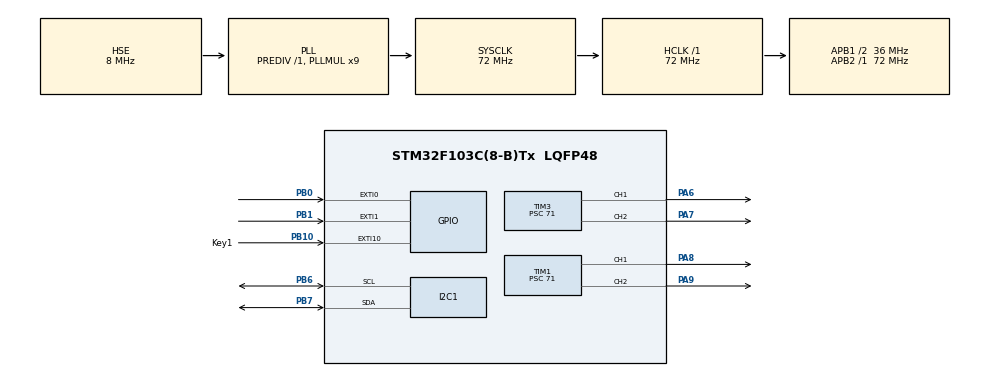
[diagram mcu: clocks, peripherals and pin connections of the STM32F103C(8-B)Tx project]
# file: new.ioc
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Mcu.Family=STM32F1
Mcu.Name=STM32F103C(8-B)Tx
Mcu.Package=LQFP48
NVIC.EXTI15_10_IRQn=true\:0\:0\:false\:false\:true\:true\:true\:true
NVIC.PriorityGroup=NVIC_PRIORITYGROUP_4
PA13.Mode=Serial_Wire
PA13.Signal=SYS_JTMS-SWDIO
PA14.Mode=Serial_Wire
PA14.Signal=SYS_JTCK-SWCLK
PA6.Signal=S_TIM3_CH1
PA7.Signal=S_TIM3_CH2
PA8.Signal=S_TIM1_CH1
PA9.Signal=S_TIM1_CH2
PB0.Signal=GPXTI0
PB1.Signal=GPXTI1
PB10.GPIO_Label=Key1
PB10.GPIO_ModeDefaultEXTI=GPIO_MODE_IT_FALLING
PB10.GPIO_PuPd=GPIO_PULLUP
PB10.Signal=GPXTI10
PB6.Mode=I2C
PB6.Signal=I2C1_SCL
PB7.Mode=I2C
PB7.Signal=I2C1_SDA
PC14-OSC32_IN.Mode=LSE-External-Oscillator
PC14-OSC32_IN.Signal=RCC_OSC32_IN
PC15-OSC32_OUT.Mode=LSE-External-Oscillator
PC15-OSC32_OUT.Signal=RCC_OSC32_OUT
PD0-OSC_IN.Mode=HSE-External-Oscillator
PD0-OSC_IN.Signal=RCC_OSC_IN
PD1-OSC_OUT.Mode=HSE-External-Oscillator
PD1-OSC_OUT.Signal=RCC_OSC_OUT
ProjectManager.HeapSize=0x200
ProjectManager.StackSize=0x400
ProjectManager.TargetToolchain=STM32CubeIDE
RCC.AHBFreq_Value=72000000
RCC.APB1CLKDivider=RCC_HCLK_DIV2
RCC.APB1Freq_Value=36000000
RCC.APB1TimFreq_Value=72000000
RCC.APB2Freq_Value=72000000
RCC.APB2TimFreq_Value=72000000
RCC.HCLKFreq_Value=72000000
RCC.PLLMUL=RCC_PLL_MUL9
RCC.PLLSourceVirtual=RCC_PLLSOURCE_HSE
RCC.SYSCLKFreq_VALUE=72000000
RCC.SYSCLKSource=RCC_SYSCLKSOURCE_PLLCLK
RCC.USBFreq_Value=72000000
SH.S_TIM1_CH1.0=TIM1_CH1,PWM Generation1 CH1
SH.S_TIM1_CH2.0=TIM1_CH2,PWM Generation2 CH2
SH.S_TIM3_CH1.0=TIM3_CH1,PWM Generation1 CH1
SH.S_TIM3_CH2.0=TIM3_CH2,PWM Generation2 CH2
TIM1.Channel-PWM\ Generation1\ CH1=TIM_CHANNEL_1
TIM1.Channel-PWM\ Generation2\ CH2=TIM_CHANNEL_2
TIM1.Period=19999
TIM1.Prescaler=71
TIM1.Pulse-PWM\ Generation1\ CH1=1500
TIM1.Pulse-PWM\ Generation2\ CH2=1500
TIM3.Channel-PWM\ Generation1\ CH1=TIM_CHANNEL_1
TIM3.Channel-PWM\ Generation2\ CH2=TIM_CHANNEL_2
TIM3.Period=19999
TIM3.Prescaler=71
TIM3.Pulse-PWM\ Generation1\ CH1=1500
TIM3.Pulse-PWM\ Generation2\ CH2=1500
VP_TIM1_VS_ClockSourceINT.Mode=Internal
VP_TIM3_VS_ClockSourceINT.Mode=Internal
board=custom

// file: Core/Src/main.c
/* USER CODE BEGIN Header */
/**
  ******************************************************************************
  * @file           : main.c
  * @brief          : Main program body
  ******************************************************************************
  * @attention
  *
  * Copyright (c) 2026 STMicroelectronics.
  * All rights reserved.
  *
  * This software is licensed under terms that can be found in the LICENSE file
  * in the root directory of this software component.
  * If no LICENSE file comes with this software, it is provided AS-IS.
  *
  ******************************************************************************
  */
/* USER CODE END Header */
#include "main.h"

/* USER CODE BEGIN Includes */
#include "../../icode/oled/oled.h"
/* USER CODE END Includes */

I2C_HandleTypeDef hi2c1;

TIM_HandleTypeDef htim1;
TIM_HandleTypeDef htim3;

void SystemClock_Config(void);
static void MX_GPIO_Init(void);
static void MX_I2C1_Init(void);
static void MX_TIM1_Init(void);
static void MX_TIM3_Init(void);

/* USER CODE BEGIN 0 */
volatile uint8_t auto_switch_enabled = 0;  // 0:停止自动切换  1:开启自动切换
volatile uint16_t current_pulse = 500;     // 当前PWM比较值，初始500
/* USER CODE END 0 */

int main(void)
{

  /* MCU Configuration--------------------------------------------------------*/

  /* Reset of all peripherals, Initializes the Flash interface and the Systick. */
  HAL_Init();

  /* Configure the system clock */
  SystemClock_Config();

  /* Initialize all configured peripherals */
  MX_GPIO_Init();
  MX_I2C1_Init();
  MX_TIM1_Init();
  MX_TIM3_Init();
  /* USER CODE BEGIN 2 */
  HAL_TIM_PWM_Start(&htim3, TIM_CHANNEL_1);
  HAL_TIM_PWM_Start(&htim3, TIM_CHANNEL_2);
  HAL_TIM_PWM_Start(&htim1, TIM_CHANNEL_1);
  HAL_TIM_PWM_Start(&htim1, TIM_CHANNEL_2);

  OLED_Init();                           //OLED初始
   OLED_Clear();                         //清屏
  //上面的初始化以及清屏的代码在一开始处一定要写
//   OLED_ShowString(0,0,"UNICORN_LI",16, 1);    //反相显示8X16字符串
//   OLED_ShowString(0,2,"unicorn_li_123",12,0);//正相显示6X8字符串
//
//   OLED_ShowCHinese(0,6,0,0); //正相显示汉字“独”
//   OLED_ShowCHinese(16,6,1,0);//正相显示汉字“角”
//   OLED_ShowCHinese(32,6,2,0);//正相显示汉字“兽”
//
//   OLED_ShowNum(48,4,6,1,16, 0);//正相显示1位8X16数字“6”
//   OLED_ShowNum(48,7,77,2,12, 1);//反相显示2位6X8数字“77”
//   OLED_DrawBMP(90,0,122, 4,BMP1,0);//正相显示图片BMP1
   OLED_DrawBMP(0,0,128,6,BMP4,0);
//   OLED_ShowCHinese(50,6,3,0);//正相显示汉字“前”
//   OLED_ShowCHinese(66,6,4,0);//正相显示汉字“进”
//	OLED_ShowCHinese(44,6,5,0);//正相显示汉字“伸”
//	OLED_ShowCHinese(60,6,6,0);//正相显示汉字“懒”
//	OLED_ShowCHinese(76,6,7,0);//正相显示汉字“腰”
	OLED_ShowCHinese(44,6,8,0);//正相显示汉字“打”
	OLED_ShowCHinese(60,6,9,0);//正相显示汉字“招”
	OLED_ShowCHinese(76,6,10,0);//正相显示汉字“呼”

//   OLED_HorizontalShift(0x26);//全屏水平向右滚动播放

  /* USER CODE END 2 */

  /* Infinite loop */
  /* USER CODE BEGIN WHILE */
  while (1)
  {
	  if (auto_switch_enabled)
	  {
		  static uint32_t last_switch_tick = 0;
		  uint32_t now = HAL_GetTick();
		  if (now - last_switch_tick >= 500)  // 每500ms切换一次，可自行调整
		  {
			  last_switch_tick = now;

			  // 在500和1500之间交替
			  if (current_pulse == 500) {
				  current_pulse = 1500;
			  } else {
				  current_pulse = 500;
			  }

			  // 更新PWM比较值
			  __HAL_TIM_SET_COMPARE(&htim3, TIM_CHANNEL_1, current_pulse);
			  __HAL_TIM_SET_COMPARE(&htim3, TIM_CHANNEL_2, current_pulse);
			  __HAL_TIM_SET_COMPARE(&htim1, TIM_CHANNEL_1, current_pulse);
			  __HAL_TIM_SET_COMPARE(&htim1, TIM_CHANNEL_2, current_pulse);
		  }
	  }
    /* USER CODE END WHILE */

  }
}

void SystemClock_Config(void)
{
  RCC_OscInitTypeDef RCC_OscInitStruct = {0};
  RCC_ClkInitTypeDef RCC_ClkInitStruct = {0};

  /** Initializes the RCC Oscillators according to the specified parameters
  * in the RCC_OscInitTypeDef structure.
  */
  RCC_OscInitStruct.OscillatorType = RCC_OSCILLATORTYPE_HSE;
  RCC_OscInitStruct.HSEState = RCC_HSE_ON;
  RCC_OscInitStruct.HSEPredivValue = RCC_HSE_PREDIV_DIV1;
  RCC_OscInitStruct.HSIState = RCC_HSI_ON;
  RCC_OscInitStruct.PLL.PLLState = RCC_PLL_ON;
  RCC_OscInitStruct.PLL.PLLSource = RCC_PLLSOURCE_HSE;
  RCC_OscInitStruct.PLL.PLLMUL = RCC_PLL_MUL9;
  if (HAL_RCC_OscConfig(&RCC_OscInitStruct) != HAL_OK)
  {
    Error_Handler();
  }

  /** Initializes the CPU, AHB and APB buses clocks
  */
  RCC_ClkInitStruct.ClockType = RCC_CLOCKTYPE_HCLK|RCC_CLOCKTYPE_SYSCLK
                              |RCC_CLOCKTYPE_PCLK1|RCC_CLOCKTYPE_PCLK2;
  RCC_ClkInitStruct.SYSCLKSource = RCC_SYSCLKSOURCE_PLLCLK;
  RCC_ClkInitStruct.AHBCLKDivider = RCC_SYSCLK_DIV1;
  RCC_ClkInitStruct.APB1CLKDivider = RCC_HCLK_DIV2;
  RCC_ClkInitStruct.APB2CLKDivider = RCC_HCLK_DIV1;

  if (HAL_RCC_ClockConfig(&RCC_ClkInitStruct, FLASH_LATENCY_2) != HAL_OK)
  {
    Error_Handler();
  }
}

static void MX_I2C1_Init(void)
{

  hi2c1.Instance = I2C1;
  hi2c1.Init.ClockSpeed = 100000;
  hi2c1.Init.DutyCycle = I2C_DUTYCYCLE_2;
  hi2c1.Init.OwnAddress1 = 0;
  hi2c1.Init.AddressingMode = I2C_ADDRESSINGMODE_7BIT;
  hi2c1.Init.DualAddressMode = I2C_DUALADDRESS_DISABLE;
  hi2c1.Init.OwnAddress2 = 0;
  hi2c1.Init.GeneralCallMode = I2C_GENERALCALL_DISABLE;
  hi2c1.Init.NoStretchMode = I2C_NOSTRETCH_DISABLE;
  if (HAL_I2C_Init(&hi2c1) != HAL_OK)
  {
    Error_Handler();
  }

}

static void MX_TIM1_Init(void)
{

  TIM_ClockConfigTypeDef sClockSourceConfig = {0};
  TIM_MasterConfigTypeDef sMasterConfig = {0};
  TIM_OC_InitTypeDef sConfigOC = {0};
  TIM_BreakDeadTimeConfigTypeDef sBreakDeadTimeConfig = {0};

  htim1.Instance = TIM1;
  htim1.Init.Prescaler = 71;
  htim1.Init.CounterMode = TIM_COUNTERMODE_UP;
  htim1.Init.Period = 19999;
  htim1.Init.ClockDivision = TIM_CLOCKDIVISION_DIV1;
  htim1.Init.RepetitionCounter = 0;
  htim1.Init.AutoReloadPreload = TIM_AUTORELOAD_PRELOAD_DISABLE;
  if (HAL_TIM_Base_Init(&htim1) != HAL_OK)
  {
    Error_Handler();
  }
  sClockSourceConfig.ClockSource = TIM_CLOCKSOURCE_INTERNAL;
  if (HAL_TIM_ConfigClockSource(&htim1, &sClockSourceConfig) != HAL_OK)
  {
    Error_Handler();
  }
  if (HAL_TIM_PWM_Init(&htim1) != HAL_OK)
  {
    Error_Handler();
  }
  sMasterConfig.MasterOutputTrigger = TIM_TRGO_RESET;
  sMasterConfig.MasterSlaveMode = TIM_MASTERSLAVEMODE_DISABLE;
  if (HAL_TIMEx_MasterConfigSynchronization(&htim1, &sMasterConfig) != HAL_OK)
  {
    Error_Handler();
  }
  sConfigOC.OCMode = TIM_OCMODE_PWM1;
  sConfigOC.Pulse = 1500;
  sConfigOC.OCPolarity = TIM_OCPOLARITY_HIGH;
  sConfigOC.OCNPolarity = TIM_OCNPOLARITY_HIGH;
  sConfigOC.OCFastMode = TIM_OCFAST_DISABLE;
  sConfigOC.OCIdleState = TIM_OCIDLESTATE_RESET;
  sConfigOC.OCNIdleState = TIM_OCNIDLESTATE_RESET;
  if (HAL_TIM_PWM_ConfigChannel(&htim1, &sConfigOC, TIM_CHANNEL_1) != HAL_OK)
  {
    Error_Handler();
  }
  if (HAL_TIM_PWM_ConfigChannel(&htim1, &sConfigOC, TIM_CHANNEL_2) != HAL_OK)
  {
    Error_Handler();
  }
  sBreakDeadTimeConfig.OffStateRunMode = TIM_OSSR_DISABLE;
  sBreakDeadTimeConfig.OffStateIDLEMode = TIM_OSSI_DISABLE;
  sBreakDeadTimeConfig.LockLevel = TIM_LOCKLEVEL_OFF;
  sBreakDeadTimeConfig.DeadTime = 0;
  sBreakDeadTimeConfig.BreakState = TIM_BREAK_DISABLE;
  sBreakDeadTimeConfig.BreakPolarity = TIM_BREAKPOLARITY_HIGH;
  sBreakDeadTimeConfig.AutomaticOutput = TIM_AUTOMATICOUTPUT_DISABLE;
  if (HAL_TIMEx_ConfigBreakDeadTime(&htim1, &sBreakDeadTimeConfig) != HAL_OK)
  {
    Error_Handler();
  }
  HAL_TIM_MspPostInit(&htim1);

}

static void MX_TIM3_Init(void)
{

  TIM_ClockConfigTypeDef sClockSourceConfig = {0};
  TIM_MasterConfigTypeDef sMasterConfig = {0};
  TIM_OC_InitTypeDef sConfigOC = {0};

  htim3.Instance = TIM3;
  htim3.Init.Prescaler = 71;
  htim3.Init.CounterMode = TIM_COUNTERMODE_UP;
  htim3.Init.Period = 19999;
  htim3.Init.ClockDivision = TIM_CLOCKDIVISION_DIV1;
  htim3.Init.AutoReloadPreload = TIM_AUTORELOAD_PRELOAD_DISABLE;
  if (HAL_TIM_Base_Init(&htim3) != HAL_OK)
  {
    Error_Handler();
  }
  sClockSourceConfig.ClockSource = TIM_CLOCKSOURCE_INTERNAL;
  if (HAL_TIM_ConfigClockSource(&htim3, &sClockSourceConfig) != HAL_OK)
  {
    Error_Handler();
  }
  if (HAL_TIM_PWM_Init(&htim3) != HAL_OK)
  {
    Error_Handler();
  }
  sMasterConfig.MasterOutputTrigger = TIM_TRGO_RESET;
  sMasterConfig.MasterSlaveMode = TIM_MASTERSLAVEMODE_DISABLE;
  if (HAL_TIMEx_MasterConfigSynchronization(&htim3, &sMasterConfig) != HAL_OK)
  {
    Error_Handler();
  }
  sConfigOC.OCMode = TIM_OCMODE_PWM1;
  sConfigOC.Pulse = 1500;
  sConfigOC.OCPolarity = TIM_OCPOLARITY_HIGH;
  sConfigOC.OCFastMode = TIM_OCFAST_DISABLE;
  if (HAL_TIM_PWM_ConfigChannel(&htim3, &sConfigOC, TIM_CHANNEL_1) != HAL_OK)
  {
    Error_Handler();
  }
  if (HAL_TIM_PWM_ConfigChannel(&htim3, &sConfigOC, TIM_CHANNEL_2) != HAL_OK)
  {
    Error_Handler();
  }
  HAL_TIM_MspPostInit(&htim3);

}

static void MX_GPIO_Init(void)
{
  GPIO_InitTypeDef GPIO_InitStruct = {0};

  /* GPIO Ports Clock Enable */
  __HAL_RCC_GPIOC_CLK_ENABLE();
  __HAL_RCC_GPIOD_CLK_ENABLE();
  __HAL_RCC_GPIOA_CLK_ENABLE();
  __HAL_RCC_GPIOB_CLK_ENABLE();

  /*Configure GPIO pins : PB0 PB1 */
  GPIO_InitStruct.Pin = GPIO_PIN_0|GPIO_PIN_1;
  GPIO_InitStruct.Mode = GPIO_MODE_IT_RISING;
  GPIO_InitStruct.Pull = GPIO_NOPULL;
  HAL_GPIO_Init(GPIOB, &GPIO_InitStruct);

  /*Configure GPIO pin : Key1_Pin */
  GPIO_InitStruct.Pin = Key1_Pin;
  GPIO_InitStruct.Mode = GPIO_MODE_IT_FALLING;
  GPIO_InitStruct.Pull = GPIO_PULLUP;
  HAL_GPIO_Init(Key1_GPIO_Port, &GPIO_InitStruct);

  /* EXTI interrupt init*/
  HAL_NVIC_SetPriority(EXTI15_10_IRQn, 0, 0);
  HAL_NVIC_EnableIRQ(EXTI15_10_IRQn);

}

/* USER CODE BEGIN 4 */
void HAL_GPIO_EXTI_Callback(uint16_t GPIO_Pin)
{
    if (GPIO_Pin == Key1_Pin)  // 确保是按键1触发
    {
        static uint32_t last_tick = 0;
        uint32_t now = HAL_GetTick();
        if (now - last_tick < 200) return;  // 200ms消抖，防止一次按下触发多次
        last_tick = now;

        // 翻转自动切换使能标志
        auto_switch_enabled = !auto_switch_enabled;
    }
}
/* USER CODE END 4 */

void Error_Handler(void)
{
  __disable_irq();
  while (1)
  {
  }
}
